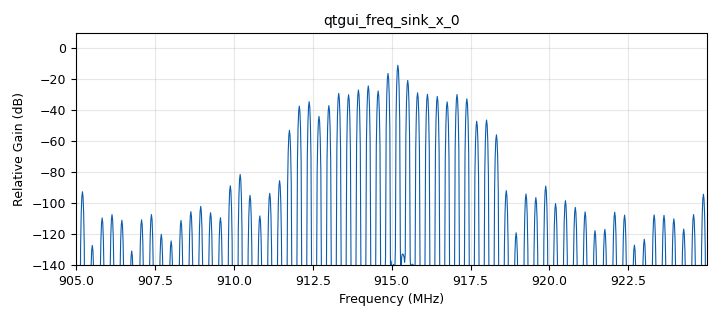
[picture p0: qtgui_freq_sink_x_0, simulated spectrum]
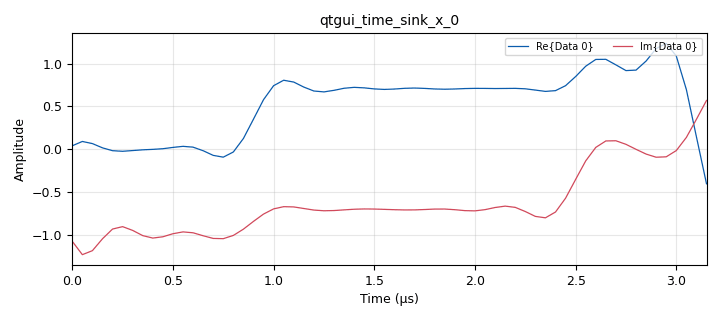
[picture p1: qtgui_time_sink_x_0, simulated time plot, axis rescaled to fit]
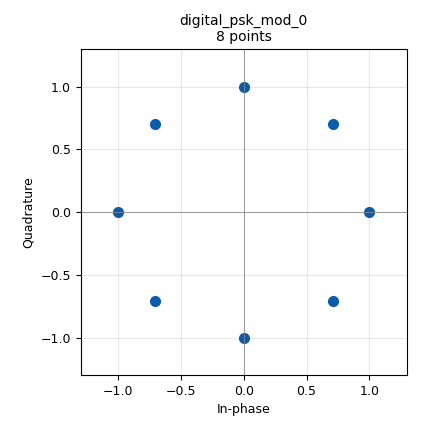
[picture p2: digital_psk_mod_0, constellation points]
options:
  parameters:
    generate_options: qt_gui
    id: untitled
    output_language: python
    title: Not titled yet
  states: {}

blocks:
- name: samp_rate
  id: variable
  parameters:
    value: '32000'
  states: {}
- name: blocks_vector_source_x_0
  id: blocks_vector_source_x
  parameters:
    repeat: 'True'
    type: byte
    vector: (0, 0,  1, 1, 0, 1)
  states: {}
- name: digital_psk_mod_0
  id: digital_psk_mod
  parameters:
    constellation_points: '8'
    differential: 'True'
    excess_bw: '0.35'
    mod_code: '"gray"'
    samples_per_symbol: '4'
  states: {}
- name: iio_pluto_sink_0
  id: iio_pluto_sink
  parameters:
    attenuation1: '0'
    bandwidth: '20000000'
    buffer_size: '32768'
    cyclic: 'False'
    filter_source: '''Auto'''
    frequency: '915000000'
    samplerate: '20000000'
    type: fc32
    uri: 192.168.3.1
  states: {}
- name: qtgui_freq_sink_x_0
  id: qtgui_freq_sink_x
  parameters:
    bw: '20000000'
    fc: '915000000'
    fftsize: '1024'
    type: complex
  states: {}
- name: qtgui_time_sink_x_0
  id: qtgui_time_sink_x
  parameters:
    size: '64'
    srate: '20000000'
    type: complex
  states: {}

connections:
- [blocks_vector_source_x_0, '0', digital_psk_mod_0, '0']
- [digital_psk_mod_0, '0', iio_pluto_sink_0, '0']
- [digital_psk_mod_0, '0', qtgui_freq_sink_x_0, '0']
- [digital_psk_mod_0, '0', qtgui_time_sink_x_0, '0']

metadata:
  file_format: 1
  grc_version: 3.10.7.0
